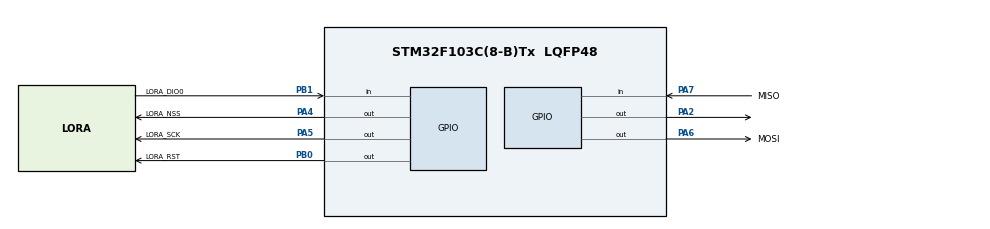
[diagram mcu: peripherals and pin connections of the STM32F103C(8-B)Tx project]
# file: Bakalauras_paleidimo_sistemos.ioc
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Mcu.Family=STM32F1
Mcu.Name=STM32F103C(8-B)Tx
Mcu.Package=LQFP48
NVIC.PriorityGroup=NVIC_PRIORITYGROUP_4
PA13.Mode=Serial_Wire
PA13.Signal=SYS_JTMS-SWDIO
PA14.Mode=Serial_Wire
PA14.Signal=SYS_JTCK-SWCLK
PA2.GPIO_Speed=GPIO_SPEED_FREQ_MEDIUM
PA2.Signal=GPIO_Output
PA4.GPIO_Label=LORA_NSS
PA4.GPIO_Speed=GPIO_SPEED_FREQ_MEDIUM
PA4.Signal=GPIO_Output
PA5.GPIO_Label=LORA_SCK
PA5.GPIO_Speed=GPIO_SPEED_FREQ_MEDIUM
PA5.Signal=GPIO_Output
PA6.GPIO_Label=MOSI
PA6.GPIO_Speed=GPIO_SPEED_FREQ_MEDIUM
PA6.Signal=GPIO_Output
PA7.GPIO_Label=MISO
PA7.Signal=GPIO_Input
PB0.GPIO_Label=LORA_RST
PB0.GPIO_Speed=GPIO_SPEED_FREQ_MEDIUM
PB0.Signal=GPIO_Output
PB1.GPIO_Label=LORA_DIO0
PB1.Signal=GPIO_Input
ProjectManager.HeapSize=0x200
ProjectManager.StackSize=0x400
ProjectManager.TargetToolchain=MDK-ARM V5.32
RCC.AHBFreq_Value=36000000
RCC.APB1CLKDivider=RCC_HCLK_DIV2
RCC.APB1Freq_Value=18000000
RCC.APB1TimFreq_Value=36000000
RCC.APB2Freq_Value=36000000
RCC.APB2TimFreq_Value=36000000
RCC.HCLKFreq_Value=36000000
RCC.PLLMUL=RCC_PLL_MUL9
RCC.SYSCLKFreq_VALUE=36000000
RCC.SYSCLKSource=RCC_SYSCLKSOURCE_PLLCLK
RCC.USBFreq_Value=36000000
board=custom

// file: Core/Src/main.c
/* USER CODE BEGIN Header */
/**
  ******************************************************************************
  * @file           : main.c
  * @brief          : Krovinio paleidimo sistemos pagrindine programa
  ******************************************************************************
  */
/* USER CODE END Header */

#include "main.h"
//#include "gpio.h"

/* USER CODE BEGIN Includes */
#include <stdint.h>
#include <string.h>
/* USER CODE END Includes */

/* USER CODE BEGIN PD */

/* LoRa SPI linijos */
#define LORA_NSS_PORT      GPIOA
#define LORA_NSS_PIN       GPIO_PIN_4

#define LORA_SCK_PORT      GPIOA
#define LORA_SCK_PIN       GPIO_PIN_5

#define LORA_MOSI_PORT     GPIOA
#define LORA_MOSI_PIN      GPIO_PIN_6

#define LORA_MISO_PORT     GPIOA
#define LORA_MISO_PIN      GPIO_PIN_7

#define LORA_RST_PORT      GPIOB
#define LORA_RST_PIN       GPIO_PIN_0

/* Elektromagneto valdymas */
#define GATE_PORT          GPIOA
#define GATE_PIN           GPIO_PIN_2

/* LoRa registrai */
#define REG_FIFO                 0x00
#define REG_OP_MODE              0x01
#define REG_FRF_MSB              0x06
#define REG_FRF_MID              0x07
#define REG_FRF_LSB              0x08
#define REG_FIFO_ADDR_PTR        0x0D
#define REG_FIFO_TX_BASE         0x0E
#define REG_FIFO_RX_BASE         0x0F
#define REG_FIFO_RX_CURRENT_ADDR 0x10
#define REG_IRQ_FLAGS            0x12
#define REG_RX_NB_BYTES          0x13
#define REG_MODEM_CONFIG1        0x1D
#define REG_MODEM_CONFIG2        0x1E
#define REG_SYNC_WORD            0x39
#define REG_VERSION              0x42

/* LoRa režimai */
#define MODE_SLEEP               0x80
#define MODE_STDBY               0x81
#define MODE_RX_CONTINUOUS       0x85

/* IRQ veliavos */
#define IRQ_RX_DONE              0x40
#define IRQ_PAYLOAD_CRC_ERROR    0x20

/* Priimama komanda */
#define RELEASE_COMMAND          "BAKIS_OK"
#define RELEASE_COMMAND_LENGTH   8

/* Elektromagneto aktyvavimo trukme */
#define MAGNET_ACTIVE_TIME_MS    1000

/* USER CODE END PD */

/* USER CODE BEGIN PV */

uint8_t lora_ok = 0;
uint8_t rx_buffer[32];

/* USER CODE END PV */

void SystemClock_Config(void);

/* USER CODE BEGIN PFP */

uint8_t SW_SPI_Transfer(uint8_t data);
uint8_t LoRa_ReadReg(uint8_t addr);
void LoRa_WriteReg(uint8_t addr, uint8_t value);

void LoRa_Reset(void);
uint8_t LoRa_Init(void);
void LoRa_SetRxMode(void);
uint8_t LoRa_Receive(uint8_t *buffer, uint8_t max_size);

uint8_t Sensors_Are_Allowed(void);
void Electromagnet_Activate(void);

/* USER CODE END PFP */

/* USER CODE BEGIN 0 */

/**
  * @brief Programiškai realizuota SPI duomenu perdavimo funkcija.
  * @param data Siunciamas baitas.
  * @retval Gautas baitas.
  */
uint8_t SW_SPI_Transfer(uint8_t data)
{
    uint8_t received = 0;

    for (int8_t i = 7; i >= 0; i--)
    {
        if (data & (1 << i))
        {
            HAL_GPIO_WritePin(LORA_MOSI_PORT, LORA_MOSI_PIN, GPIO_PIN_SET);
        }
        else
        {
            HAL_GPIO_WritePin(LORA_MOSI_PORT, LORA_MOSI_PIN, GPIO_PIN_RESET);
        }

        HAL_GPIO_WritePin(LORA_SCK_PORT, LORA_SCK_PIN, GPIO_PIN_SET);

        if (HAL_GPIO_ReadPin(LORA_MISO_PORT, LORA_MISO_PIN) == GPIO_PIN_SET)
        {
            received |= (1 << i);
        }

        HAL_GPIO_WritePin(LORA_SCK_PORT, LORA_SCK_PIN, GPIO_PIN_RESET);
    }

    return received;
}

/**
  * @brief Nuskaito LoRa modulio registra.
  * @param addr Registro adresas.
  * @retval Registro reikšme.
  */
uint8_t LoRa_ReadReg(uint8_t addr)
{
    uint8_t val = 0;

    HAL_GPIO_WritePin(LORA_NSS_PORT, LORA_NSS_PIN, GPIO_PIN_RESET);

    SW_SPI_Transfer(addr & 0x7F);
    val = SW_SPI_Transfer(0x00);

    HAL_GPIO_WritePin(LORA_NSS_PORT, LORA_NSS_PIN, GPIO_PIN_SET);

    return val;
}

/**
  * @brief Irašo reikšme i LoRa modulio registra.
  * @param addr Registro adresas.
  * @param value Irašoma reikšme.
  * @retval None
  */
void LoRa_WriteReg(uint8_t addr, uint8_t value)
{
    HAL_GPIO_WritePin(LORA_NSS_PORT, LORA_NSS_PIN, GPIO_PIN_RESET);

    SW_SPI_Transfer(addr | 0x80);
    SW_SPI_Transfer(value);

    HAL_GPIO_WritePin(LORA_NSS_PORT, LORA_NSS_PIN, GPIO_PIN_SET);
}

/**
  * @brief Atlieka LoRa modulio aparatini perkrovima.
  * @retval None
  */
void LoRa_Reset(void)
{
    HAL_GPIO_WritePin(LORA_RST_PORT, LORA_RST_PIN, GPIO_PIN_RESET);
    HAL_Delay(10);

    HAL_GPIO_WritePin(LORA_RST_PORT, LORA_RST_PIN, GPIO_PIN_SET);
    HAL_Delay(50);
}

/**
  * @brief Inicializuoja RA-02 LoRa moduli.
  * @retval 1 - inicializacija sekminga, 0 - klaida.
  */
uint8_t LoRa_Init(void)
{
    uint8_t version = 0;

    HAL_GPIO_WritePin(LORA_NSS_PORT, LORA_NSS_PIN, GPIO_PIN_SET);
    HAL_GPIO_WritePin(LORA_SCK_PORT, LORA_SCK_PIN, GPIO_PIN_RESET);

    LoRa_Reset();

    version = LoRa_ReadReg(REG_VERSION);

    if (version != 0x12)
    {
        return 0;
    }

    /*
      LoRa modulio konfiguracija turi sutapti su valdymo pultelio nustatymais:
      - 433 MHz dažnis
      - BW = 125 kHz
      - SF = 7
      - CR = 4/5
      - SyncWord = 0x12
    */

    LoRa_WriteReg(REG_OP_MODE, 0x00);
    HAL_Delay(10);

    LoRa_WriteReg(REG_OP_MODE, MODE_SLEEP);
    HAL_Delay(10);

    LoRa_WriteReg(REG_OP_MODE, MODE_STDBY);
    HAL_Delay(10);

    /* 433 MHz dažnis */
    LoRa_WriteReg(REG_FRF_MSB, 0x6C);
    LoRa_WriteReg(REG_FRF_MID, 0x40);
    LoRa_WriteReg(REG_FRF_LSB, 0x00);

    /*
      RegModemConfig1 = 0x72
      BW = 125 kHz, CR = 4/5, explicit header mode

      RegModemConfig2 = 0x70
      SF = 7, CRC išjungtas
    */
    LoRa_WriteReg(REG_MODEM_CONFIG1, 0x72);
    LoRa_WriteReg(REG_MODEM_CONFIG2, 0x70);

    /* SyncWord turi sutapti su pultelio LoRa nustatymu */
    LoRa_WriteReg(REG_SYNC_WORD, 0x12);

    /* FIFO pradžios adresai */
    LoRa_WriteReg(REG_FIFO_TX_BASE, 0x00);
    LoRa_WriteReg(REG_FIFO_RX_BASE, 0x00);

    /* Išvalomi pertraukimo požymiai */
    LoRa_WriteReg(REG_IRQ_FLAGS, 0xFF);

    LoRa_SetRxMode();

    return 1;
}

/**
  * @brief Perjungia LoRa moduli i nuolatini priemimo režima.
  * @retval None
  */
void LoRa_SetRxMode(void)
{
    LoRa_WriteReg(REG_OP_MODE, MODE_STDBY);
    HAL_Delay(5);

    LoRa_WriteReg(REG_FIFO_ADDR_PTR, 0x00);
    LoRa_WriteReg(REG_IRQ_FLAGS, 0xFF);

    LoRa_WriteReg(REG_OP_MODE, MODE_RX_CONTINUOUS);
    HAL_Delay(5);
}

/**
  * @brief Tikrina, ar gautas LoRa paketas, ir ji nuskaito.
  * @param buffer Buferis priimtiems duomenims.
  * @param max_size Maksimalus buferio dydis.
  * @retval Priimtu baitu skaicius. Jei duomenu nera - 0.
  */
uint8_t LoRa_Receive(uint8_t *buffer, uint8_t max_size)
{
    uint8_t irq_flags = 0;
    uint8_t packet_size = 0;
    uint8_t current_addr = 0;

    irq_flags = LoRa_ReadReg(REG_IRQ_FLAGS);

    if ((irq_flags & IRQ_RX_DONE) == 0)
    {
        return 0;
    }

    /* Jeigu ivyko CRC klaida, paketas ignoruojamas */
    if (irq_flags & IRQ_PAYLOAD_CRC_ERROR)
    {
        LoRa_WriteReg(REG_IRQ_FLAGS, 0xFF);
        LoRa_SetRxMode();
        return 0;
    }

    packet_size = LoRa_ReadReg(REG_RX_NB_BYTES);
    current_addr = LoRa_ReadReg(REG_FIFO_RX_CURRENT_ADDR);

    if (packet_size > max_size)
    {
        packet_size = max_size;
    }

    LoRa_WriteReg(REG_FIFO_ADDR_PTR, current_addr);

    for (uint8_t i = 0; i < packet_size; i++)
    {
        buffer[i] = LoRa_ReadReg(REG_FIFO);
    }

    /* Išvalomi IRQ požymiai */
    LoRa_WriteReg(REG_IRQ_FLAGS, 0xFF);

    /* Gražinamas RX režimas */
    LoRa_SetRxMode();

    return packet_size;
}

/**
  * @brief Patikrina, ar jutikliu duomenys leidžia paleisti krovini.
  * @retval 1 - paleidimas leidžiamas, 0 - paleidimas blokuojamas.
  */
uint8_t Sensors_Are_Allowed(void)
{
    /*
      Šioje vietoje veliau gali buti irašomas realus jutikliu tikrinimas.

      Pavyzdžiui:
      - aukšcio jutiklio reikšmes patikra;
      - padeties arba pasvirimo kampo patikra;
      - kitu saugos salygu tikrinimas.

      Šiame galutiniame baziniame variante laikoma, kad salygos tenkinamos.
    */

    return 1;
}

/**
  * @brief Aktyvuoja elektromagneta nustatytam laikui.
  * @retval None
  */
void Electromagnet_Activate(void)
{
    HAL_GPIO_WritePin(GATE_PORT, GATE_PIN, GPIO_PIN_SET);
    HAL_Delay(MAGNET_ACTIVE_TIME_MS);
    HAL_GPIO_WritePin(GATE_PORT, GATE_PIN, GPIO_PIN_RESET);
}

/* USER CODE END 0 */

int main(void)
{

  /* MCU Configuration--------------------------------------------------------*/

  HAL_Init();

  SystemClock_Config();

 // MX_GPIO_Init();

  /* USER CODE BEGIN 2 */

  /* Užtikrinama, kad elektromagnetas paleidimo metu butu išjungtas */
  HAL_GPIO_WritePin(GATE_PORT, GATE_PIN, GPIO_PIN_RESET);

  lora_ok = LoRa_Init();

  /*
    Jeigu LoRa modulis inicializuotas sekmingai, sistema pradeda laukti
    komandos iš valdymo pultelio. Jeigu modulis neatsako, programa cikle
    bandys inicializuoti ji iš naujo.
  */

  /* USER CODE END 2 */

  /* Infinite loop */
  /* USER CODE BEGIN WHILE */
  while (1)
  {
      if (lora_ok)
      {
          uint8_t received_size = 0;

          received_size = LoRa_Receive(rx_buffer, sizeof(rx_buffer));

          if (received_size > 0)
          {
              /*
                Tikrinama, ar gautas paketas atitinka krovinio paleidimo komanda.
                Komanda turi sutapti su pultelyje siunciama reikšme: "BAKIS_OK".
              */
              if (received_size == RELEASE_COMMAND_LENGTH)
              {
                  if (memcmp(rx_buffer, RELEASE_COMMAND, RELEASE_COMMAND_LENGTH) == 0)
                  {
                      /*
                        Krovinys paleidžiamas tik tuo atveju, jeigu jutikliu
                        duomenys patenka i leistinas ribas.
                      */
                      if (Sensors_Are_Allowed())
                      {
                          Electromagnet_Activate();
                      }
                  }
              }
          }
      }
      else
      {
          /*
            Jei LoRa modulis neinicializuotas, periodiškai bandoma
            inicializuoti ji iš naujo.
          */
          HAL_GPIO_WritePin(GATE_PORT, GATE_PIN, GPIO_PIN_RESET);
          HAL_Delay(1000);

          lora_ok = LoRa_Init();
      }

      HAL_Delay(10);

    /* USER CODE END WHILE */

  }
}

void SystemClock_Config(void)
{
  RCC_OscInitTypeDef RCC_OscInitStruct = {0};
  RCC_ClkInitTypeDef RCC_ClkInitStruct = {0};

  /** Initializes the RCC Oscillators according to the specified parameters
  * in the RCC_OscInitTypeDef structure.
  */
  RCC_OscInitStruct.OscillatorType = RCC_OSCILLATORTYPE_HSE;
  RCC_OscInitStruct.HSEState = RCC_HSE_ON;
  RCC_OscInitStruct.HSEPredivValue = RCC_HSE_PREDIV_DIV1;
  RCC_OscInitStruct.HSIState = RCC_HSI_ON;
  RCC_OscInitStruct.PLL.PLLState = RCC_PLL_ON;
  RCC_OscInitStruct.PLL.PLLSource = RCC_PLLSOURCE_HSE;
  RCC_OscInitStruct.PLL.PLLMUL = RCC_PLL_MUL9;

  if (HAL_RCC_OscConfig(&RCC_OscInitStruct) != HAL_OK)
  {
    Error_Handler();
  }

  /** Initializes the CPU, AHB and APB buses clocks
  */
  RCC_ClkInitStruct.ClockType = RCC_CLOCKTYPE_HCLK |
                                RCC_CLOCKTYPE_SYSCLK |
                                RCC_CLOCKTYPE_PCLK1 |
                                RCC_CLOCKTYPE_PCLK2;

  RCC_ClkInitStruct.SYSCLKSource = RCC_SYSCLKSOURCE_PLLCLK;
  RCC_ClkInitStruct.AHBCLKDivider = RCC_SYSCLK_DIV1;
  RCC_ClkInitStruct.APB1CLKDivider = RCC_HCLK_DIV2;
  RCC_ClkInitStruct.APB2CLKDivider = RCC_HCLK_DIV1;

  if (HAL_RCC_ClockConfig(&RCC_ClkInitStruct, FLASH_LATENCY_2) != HAL_OK)
  {
    Error_Handler();
  }
}

void Error_Handler(void)
{
  /* USER CODE BEGIN Error_Handler_Debug */

  __disable_irq();

  while (1)
  {
      HAL_GPIO_WritePin(GATE_PORT, GATE_PIN, GPIO_PIN_RESET);
  }

  /* USER CODE END Error_Handler_Debug */
}

#ifdef USE_FULL_ASSERT
/**
  * @brief  Reports the name of the source file and the source line number
  *         where the assert_param error has occurred.
  * @param  file: pointer to the source file name
  * @param  line: assert_param error line source number
  * @retval None
  */
void assert_failed(uint8_t *file, uint32_t line)
{
  /* USER CODE BEGIN 6 */
  (void)file;
  (void)line;
  /* USER CODE END 6 */
}
#endif /* USE_FULL_ASSERT */
